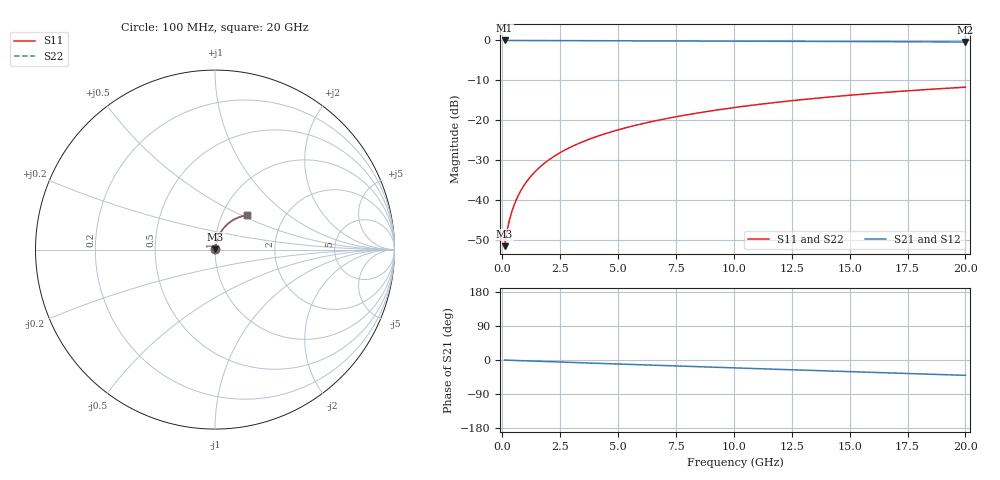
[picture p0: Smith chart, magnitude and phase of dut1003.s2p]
! Touchstone file exported from HFSS 2026.1.0
!  File:  C:/ffzhzh/LocalFiles/Ansys_Project_Files/temp_train_BSMRDL_1003_1783173140_22436.aedt
!  Generated:  09:53:29 PM Jul  4, 2026
!  Design:  BSMRDL
!  Project:  temp_train_BSMRDL_1003_1783173140_22436
! Variables:
!  h_bsmrdl = 5.85um
!  h_ox = 20um
!  h_rdl = 5um
!  h_sub = 80um
!  h_tmrdl = 5um
!  h_tsv = 80um
!  h_via = 3um
!  l_bsmrdl = 661.46um
!  l_sub = 1061.46um
!  l_tmrdl = 200um
!  m_sub = 200um
!  pitch = 40.21um
!  r_tsv = 6um
!  s_tmrdl = 10um
!  w_bsmrdl = 23um
!  w_sub = 500um
!  w_tmrdl = 12um
!  x_tsv_center1 = 206um
!  x_tsv_center2 = 890.46um
!  x_tsv_center3 = 1102.46um
!  x_tsv_center4 = 1786.92um
!  x_tsv_center5 = 1998.92um
!  x_tsv_center6 = 2683.38um
# GHz S MA R 50.000000
! Terminal data exported
! Port[1] = BSM_RDL1_1_T1
! Port[2] = BSM_RDL1_1_T2
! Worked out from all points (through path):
!   200 points, 100 MHz to 20 GHz, reference 50 ohm
!   highest |S21| = -0.02 dB at 100 MHz (marker M1); lowest = -0.4 dB at 20 GHz (marker M2)
!   group delay of S21, straight-line fit = 5.61 ps
!   lowest |S11| = -51.4 dB at 100 MHz (marker M3), VSWR 1.01, Z = 50.2 + j0.184 ohm
!   |S11| at or under -10 dB: start of sweep to end of sweep
!   |S22| runs from -51.4 to -11.7 dB; largest |S21 - S12| = 2.8e-15
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0.1  0.002679 43.3  0.9981 -0.2  0.9981 -0.2  0.002679 43.3
! Gamma 0 0 0 0
! Port Impedance 50 0 50 0
0.2  0.004095 58.3  0.9979 -0.4  0.9979 -0.4  0.004095 58.3
0.3  0.005557 65.5  0.9977 -0.7  0.9977 -0.7  0.005557 65.5
0.4  0.00705 69.9  0.9977 -0.9  0.9977 -0.9  0.00705 69.9
0.5  0.008572 72.8  0.9976 -1.1  0.9976 -1.1  0.008572 72.8
0.6  0.01011 74.8  0.9975 -1.3  0.9975 -1.3  0.01011 74.8
0.8  0.01323 77.2  0.9974 -1.7  0.9974 -1.7  0.01323 77.2
1.1  0.01794 78.9  0.9971 -2.4  0.9971 -2.4  0.01794 78.9
1.3  0.02107 79.4  0.9969 -2.8  0.9969 -2.8  0.02107 79.4
1.5  0.0242 79.6  0.9967 -3.2  0.9967 -3.2  0.0242 79.6
1.8  0.02885 79.6  0.9963 -3.9  0.9963 -3.9  0.02885 79.6
2.1  0.03347 79.4  0.9959 -4.5  0.9959 -4.5  0.03347 79.4
2.7  0.04257 78.7  0.995 -5.8  0.995 -5.8  0.04257 78.7
3.5  0.05446 77.5  0.9937 -7.5  0.9937 -7.5  0.05445 77.5
4.2  0.06466 76.3  0.9925 -8.9  0.9925 -8.9  0.06466 76.3
5  0.07614 74.9  0.9911 -10.6  0.9911 -10.6  0.07614 74.9
6.8  0.1014 71.7  0.9877 -14.3  0.9877 -14.3  0.1014 71.7
8.3  0.1219 69.0  0.9847 -17.3  0.9847 -17.3  0.1219 69.0
10.1  0.1458 65.6  0.9807 -21.0  0.9807 -21.0  0.1458 65.6
13.4  0.1873 59.5  0.9726 -27.6  0.9726 -27.6  0.1873 59.5
16.7  0.2255 53.3  0.9636 -34.1  0.9636 -34.1  0.2255 53.3
20  0.2601 47.1  0.9543 -40.5  0.9543 -40.5  0.2601 47.1
